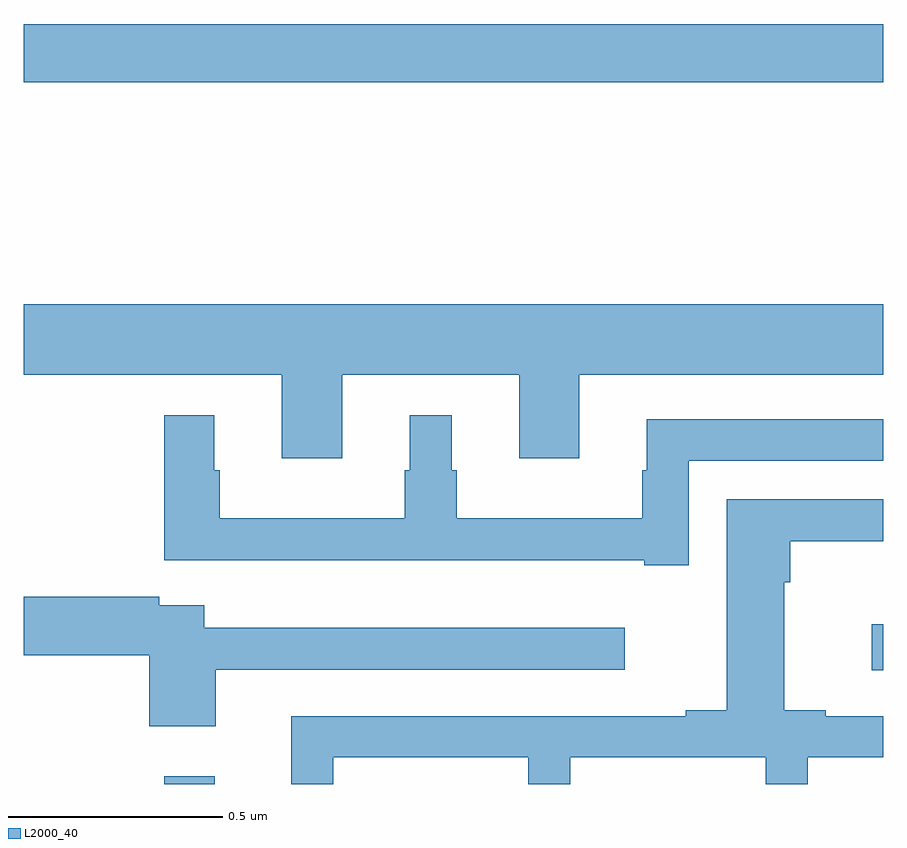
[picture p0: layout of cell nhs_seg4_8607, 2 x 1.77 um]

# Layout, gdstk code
import gdstk
lib = gdstk.Library(unit=1e-6, precision=1e-09)
def R(c, l, rs):  # rectangles x0, y0, x1, y1
    for r in rs: c.add(gdstk.rectangle(r[:2], r[2:], *l))
def P(c, l, *ps):  # polygons
    for p in ps: c.add(gdstk.Polygon(p, *l))
L2000_40 = (2000, 40)

nhs_seg4_8607 = lib.new_cell('nhs_seg4_8607')
R(nhs_seg4_8607, L2000_40, [(217.327,763.9,217.445,763.918), (218.973,764.165,219,764.272), (217,765.532,219,765.668)])
P(nhs_seg4_8607, L2000_40, [(217.741,764.852),(218.153,764.852),(218.153,764.658),(218.293,764.658),(218.293,764.852),(219,764.852),(219,765.016),(217,765.016),(217,764.852),(217.601,764.852),(217.601,764.658),(217.741,764.658)],
  [(218.547,764.652),(219,764.652),(219,764.748),(218.45,764.748),(218.45,764.63),(218.439,764.63),(218.439,764.518),(218.008,764.518),(218.008,764.63),(217.996,764.63),(217.996,764.758),(217.898,764.758),(217.898,764.63),(217.887,764.63),(217.887,764.518),(217.456,764.518),(217.456,764.63),(217.444,764.63),(217.444,764.758),(217.327,764.758),(217.327,764.421),(217.45,764.421),(217.45,764.42),(218.444,764.42),(218.444,764.409),(218.547,764.409)],
  [(217.72,763.962),(218.174,763.962),(218.174,763.9),(218.272,763.9),(218.272,763.962),(218.726,763.962),(218.726,763.9),(218.824,763.9),(218.824,763.962),(219,763.962),(219,764.058),(218.866,764.058),(218.866,764.071),(218.77,764.071),(218.77,764.369),(218.783,764.369),(218.783,764.465),(219,764.465),(219,764.562),(218.636,764.562),(218.636,764.071),(218.54,764.071),(218.54,764.058),(217.622,764.058),(217.622,763.9),(217.72,763.9)],
  [(217.447,764.166),(218.398,764.166),(218.398,764.263),(217.42,764.263),(217.42,764.316),(217.316,764.316),(217.316,764.336),(217,764.336),(217,764.2),(217.292,764.2),(217.292,764.034),(217.447,764.034)])

lib.write_gds('nhs_seg4_8607.gds')
